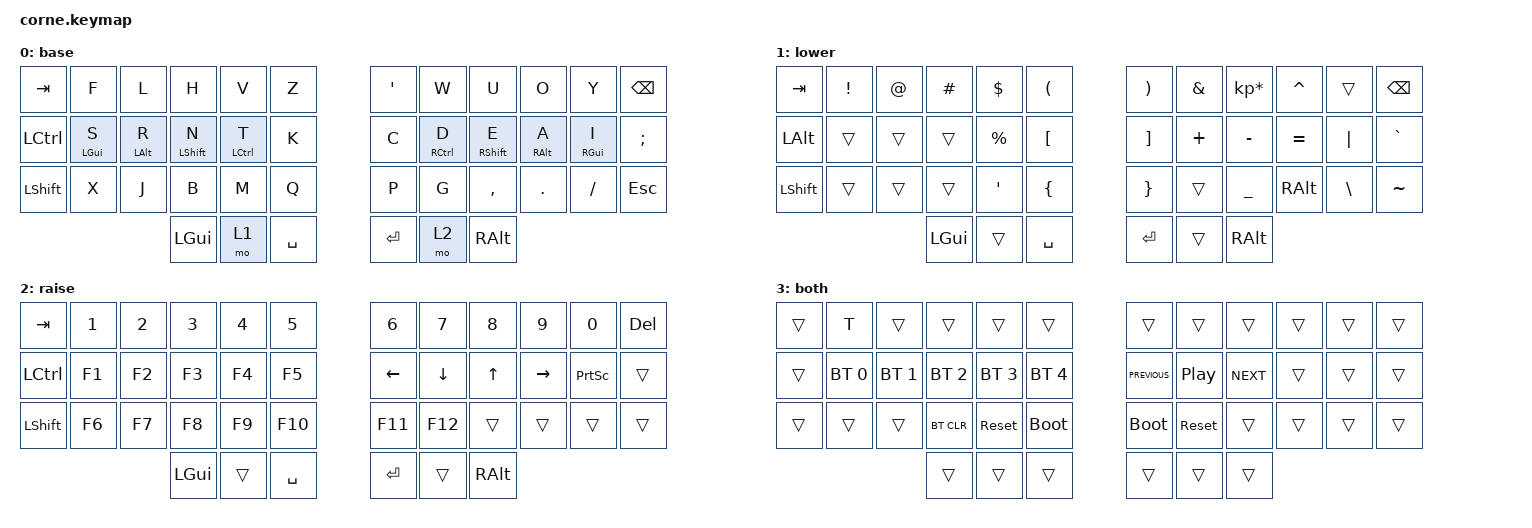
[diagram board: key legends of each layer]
/*
 * Copyright (c) 2020 The ZMK Contributors
 *
 * SPDX-License-Identifier: MIT
 */

#include <behaviors.dtsi>
#include <dt-bindings/zmk/bt.h>
#include <dt-bindings/zmk/keys.h>
#include "zmk-helpers/helper.h"
#include "zmk-helpers/key-labels/42.h"

#define KEYS_L LT0 LT1 LT2 LT3 LT4 LM0 LM1 LM2 LM3 LM4 LB0 LB1 LB2 LB3 LB4
#define KEYS_R RT0 RT1 RT2 RT3 RT4 RM0 RM1 RM2 RM3 RM4 RB0 RB1 RB2 RB3 RB4
#define THUMBS LH2 LH1 LH0 RH0 RH1 RH2

#define QUICK_TAP_MS 175

#define MAKE_HRM(NAME, HOLD, TAP, TRIGGER_POS)                                 \
    ZMK_HOLD_TAP(NAME, bindings = <HOLD>, <TAP>; flavor = "balanced";          \
                 tapping-term-ms = <280>; quick-tap-ms = <QUICK_TAP_MS>;       \
                 require-prior-idle-ms = <150>; hold-trigger-on-release;       \
                 hold-trigger-key-positions = <TRIGGER_POS>;)

MAKE_HRM(hml, &kp, &kp, KEYS_R THUMBS) // Left-hand HRMs.
MAKE_HRM(hmr, &kp, &kp, KEYS_L THUMBS) // Right-hand HRMs.

/ {
    combos {
        compatible = "zmk,combos";

        l_bracket {
            bindings = <&kp LEFT_BRACKET>;
            key-positions = <14 15>;
        };

        r_bracket {
            bindings = <&kp RIGHT_BRACKET>;
            key-positions = <21 20>;
        };
    };

    keymap {
        compatible = "zmk,keymap";

        default_layer {
            // -----------------------------------------------------------------------------------------
            // |  TAB |  Q  |  W  |  E  |  R  |  T  |   |  Y  |  U   |  I  |  O  |  P  | BKSP |
            // | CTRL |  A  |  S  |  D  |  F  |  G  |   |  H  |  J   |  K  |  L  |  ;  |  '   |
            // | SHFT |  Z  |  X  |  C  |  V  |  B  |   |  N  |  M   |  ,  |  .  |  /  | ESC  |
            //                    | GUI | LWR | SPC |   | ENT | RSE  | ALT |

            bindings = <
&kp TAB    &kp F           &kp L           &kp H         &kp V        &kp Z        &kp SINGLE_QUOTE  &kp W        &kp U         &kp O            &kp Y            &kp BSPC
&kp LCTRL  &hml LEFT_GUI S  &hml LEFT_ALT R  &hml LSHIFT N  &hml LCTRL T  &kp K        &kp C             &hmr RCTRL D  &hmr RSHIFT E  &hmr RIGHT_ALT A  &hmr RIGHT_GUI I  &kp SEMI
&kp LSHFT  &kp X           &kp J           &kp B         &kp M        &kp Q        &kp P             &kp G        &kp COMMA     &kp DOT          &kp FSLH         &kp ESC
                                           &kp LGUI      &mo 1        &kp SPACE    &kp RET           &mo 2        &kp RALT
            >;

            label = "base";
        };

        lower_layer {
            // -----------------------------------------------------------------------------------------
            // |  TAB |  !  |  @  |  #  |  $  |  %  |   |  ^  |  &  |  *  |  (  |  )  | BKSP |
            // | CTRL |     |     |     |     |     |   |  -  |  =  |  [  |  ]  |  \  |  `   |
            // | SHFT |     |     |     |     |     |   |  _  |  +  |  {  |  }  | "|" |  ~   |
            //                    | GUI |     | SPC |   | ENT |     | ALT |

            bindings = <
&kp TAB    &kp EXCL  &kp AT  &kp HASH  &kp DLLR          &kp LPAR     &kp RPAR  &kp AMPS  &kp KP_MULTIPLY  &kp CARET  &trans         &kp BSPC
&kp LALT   &trans    &trans  &trans    &kp PRCNT         &kp LBKT     &kp RBKT  &kp PLUS  &kp MINUS        &kp EQUAL  &kp PIPE       &kp GRAVE
&kp LSHFT  &trans    &trans  &trans    &kp SINGLE_QUOTE  &kp LBRC     &kp RBRC  &trans    &kp UNDER        &kp RALT   &kp BACKSLASH  &kp TILDE
                             &kp LGUI  &trans            &kp SPACE    &kp RET   &trans    &kp RALT
            >;

            label = "lower";
        };

        raise_layer {
            // -----------------------------------------------------------------------------------------
            // |  TAB |  1  |  2  |  3  |  4  |  5  |   |  6  |  7  |  8  |  9  |  0  | BKSP |
            // | BTCLR| BT1 | BT2 | BT3 | BT4 | BT5 |   | LFT | DWN |  UP | RGT |     |      |
            // | SHFT |     |     |     |     |     |   |     |     |     |     |     |      |
            //                    | GUI |     | SPC |   | ENT |     | ALT |

            bindings = <
&kp TAB    &kp N1  &kp N2  &kp N3    &kp N4  &kp N5       &kp N6    &kp N7    &kp N8    &kp N9     &kp N0           &kp DEL
&kp LCTRL  &kp F1  &kp F2  &kp F3    &kp F4  &kp F5       &kp LEFT  &kp DOWN  &kp UP    &kp RIGHT  &kp PRINTSCREEN  &trans
&kp LSHFT  &kp F6  &kp F7  &kp F8    &kp F9  &kp F10      &kp F11   &kp F12   &trans    &trans     &trans           &trans
                           &kp LGUI  &trans  &kp SPACE    &kp RET   &trans    &kp RALT
            >;

            label = "raise";
        };

        both {
            bindings = <
&trans  &kp T         &trans        &trans        &trans        &trans          &trans          &trans            &trans      &trans  &trans  &trans
&trans  &bt BT_SEL 0  &bt BT_SEL 1  &bt BT_SEL 2  &bt BT_SEL 3  &bt BT_SEL 4    &kp C_PREVIOUS  &kp C_PLAY_PAUSE  &kp C_NEXT  &trans  &trans  &trans
&trans  &trans        &trans        &bt BT_CLR    &sys_reset    &bootloader     &bootloader     &sys_reset        &trans      &trans  &trans  &trans
                                    &trans        &trans        &trans          &trans          &trans            &trans
            >;

            label = "both";
        };
    };

    conditional_layers {
        compatible = "zmk,conditional-layers";

        both {
            if-layers = <1 2>;
            then-layer = <3>;
        };
    };
};
